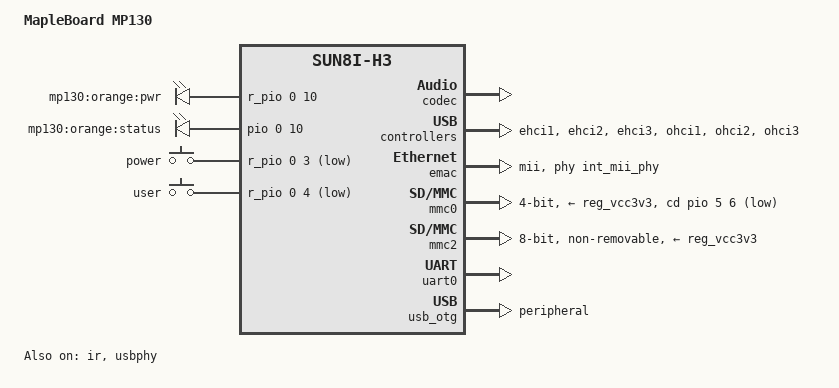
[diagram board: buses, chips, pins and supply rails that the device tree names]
// SPDX-License-Identifier: GPL-2.0
/*
 * Copyright (C) 2017 Centrum Embedded Systems, Jia-Bin Huang <jb@ces.com.tw>
 * Copyright (C) 2018 Jonathan McDowell <noodles@earth.li>
 */

/dts-v1/;
#include "sun8i-h3.dtsi"
#include "sunxi-common-regulators.dtsi"

#include <dt-bindings/gpio/gpio.h>
#include <dt-bindings/input/input.h>

/ {
	model = "MapleBoard MP130";
	compatible = "mapleboard,mp130", "allwinner,sun8i-h3";

	aliases {
		ethernet0 = &emac;
		serial0 = &uart0;
	};

	chosen {
		stdout-path = "serial0:115200n8";
	};

	leds {
		compatible = "gpio-leds";

		pwr_led {
			label = "mp130:orange:pwr";
			gpios = <&r_pio 0 10 GPIO_ACTIVE_HIGH>;
			default-state = "on";
		};

		status_led {
			label = "mp130:orange:status";
			gpios = <&pio 0 10 GPIO_ACTIVE_HIGH>;
		};
	};

	gpio-keys {
		compatible = "gpio-keys";

		key-power {
			label = "power";
			linux,code = <KEY_POWER>;
			gpios = <&r_pio 0 3 GPIO_ACTIVE_LOW>; /* PL3 */
		};

		key-user {
			label = "user";
			linux,code = <BTN_0>;
			gpios = <&r_pio 0 4 GPIO_ACTIVE_LOW>;
		};
	};
};

&codec {
	allwinner,audio-routing =
		"Line Out", "LINEOUT",
		"LINEIN", "Line In";
	status = "okay";
};

&ehci1 {
	status = "okay";
};

&ehci2 {
	status = "okay";
};

&ehci3 {
	status = "okay";
};

&emac {
	phy-handle = <&int_mii_phy>;
	phy-mode = "mii";
	allwinner,leds-active-low;
	status = "okay";
};

&ir {
	pinctrl-names = "default";
	pinctrl-0 = <&r_ir_rx_pin>;
	status = "okay";
};

&mmc0 {
	vmmc-supply = <&reg_vcc3v3>;
	bus-width = <4>;
	cd-gpios = <&pio 5 6 GPIO_ACTIVE_LOW>; /* PF6 */
	status = "okay";
};

&mmc2 {
	pinctrl-names = "default";
	pinctrl-0 = <&mmc2_8bit_pins>;
	vmmc-supply = <&reg_vcc3v3>;
	bus-width = <8>;
	non-removable;
	cap-mmc-hw-reset;
	status = "okay";
};

&ohci1 {
	status = "okay";
};

&ohci2 {
	status = "okay";
};

&ohci3 {
	status = "okay";
};

&uart0 {
	pinctrl-names = "default";
	pinctrl-0 = <&uart0_pa_pins>;
	status = "okay";
};

&uart1 {
	pinctrl-names = "default";
	pinctrl-0 = <&uart1_pins>;
	status = "disabled";
};

&uart2 {
	pinctrl-names = "default";
	pinctrl-0 = <&uart2_pins>;
	status = "disabled";
};

&uart3 {
	pinctrl-names = "default";
	pinctrl-0 = <&uart3_pins>;
	status = "disabled";
};

&usb_otg {
	dr_mode = "peripheral";
	status = "okay";
};

&usbphy {
	/* USB VBUS is always on */
	status = "okay";
};
